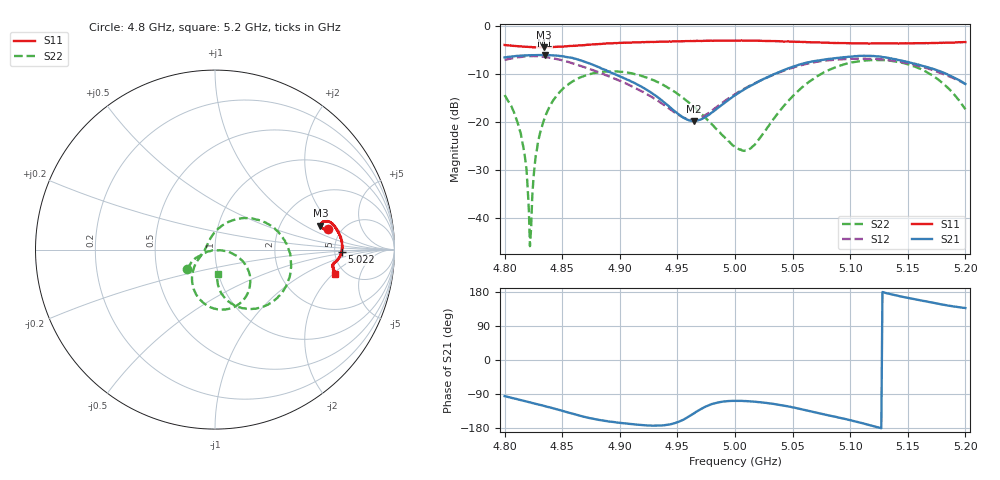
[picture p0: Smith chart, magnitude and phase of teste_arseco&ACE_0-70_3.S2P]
! Network Analyzer HP8722D
! Hewlett-Packard
! Data name: Linha & Wilkinson
! Saver's name: Rodrigo Anjos
! Comments: Teste da utilização de aquisição
! continua pelo VNA HP8722D
! Time and date: 8/5/2025 12:47
!  Frequency  S11  S21  S12  S22
# HZ  S  MA R 50
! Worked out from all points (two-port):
!   401 points, 4.8 GHz to 5.2 GHz, reference 50 ohm
!   highest |S21| = -5.99 dB at 4.835 GHz (marker M1); lowest = -19.8 dB at 4.964 GHz (marker M2)
!   |S21| within 3 dB of the highest: start of sweep to 4.886 GHz; 5.044 GHz to 5.173 GHz (129.2 MHz wide, 2.53 % of centre)
!   lowest |S11| = -4.4 dB at 4.834 GHz (marker M3), VSWR 4.02, Z = 169 + j70.8 ohm
!   |S11| at or under -10 dB: nowhere
!   |S22| runs from -45.9 to -7.0 dB; largest |S21 - S12| = 0.11
!   S11 on the Smith chart (normalised r, x): 4.8 GHz: 3.91, +1.51; 5.022 GHz: 5.76, -0.32; 5.2 GHz: 4.22, -2.12
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4.8e9  0.6382 10.4  0.4732 -95.3  0.4462 -81.5  0.1916 -145.7
4.808e9  0.6228 10.5  0.4865 -101.2  0.4665 -88.6  0.1282 -154.0
4.815e9  0.614 10.9  0.4934 -106.6  0.4794 -95.3  0.06522 -162.2
4.818e9  0.611 11.1  0.497 -108.9  0.4857 -98.4  0.04021 -165.4
4.822e9  0.6081 11.4  0.4978 -111.7  0.4883 -102.4  0.005086 -125.1
4.824e9  0.6043 11.8  0.4994 -113.5  0.4871 -104.6  0.01679 -15.5
4.828e9  0.6054 12.2  0.5006 -116.4  0.4872 -108.2  0.05131 -8.3
4.834e9  0.6018 12.8  0.5009 -121.0  0.4797 -114.3  0.104 -13.3
4.835e9  0.6042 12.9  0.5015 -121.8  0.4814 -115.1  0.1119 -14.3
4.847e9  0.6126 14.0  0.493 -131.6  0.4502 -126.0  0.2007 -28.8
4.867e9  0.6322 14.3  0.4373 -148.4  0.382 -140.5  0.2974 -50.7
4.899e9  0.6718 12.4  0.3045 -165.5  0.273 -155.4  0.3365 -83.0
4.934e9  0.6893 8.9  0.1778 -173.2  0.1645 -160.0  0.257 -116.3
4.964e9  0.7028 6.0  0.1029 -141.5  0.1057 -129.4  0.1458 -141.2
5e9  0.7088 1.8  0.1901 -108.0  0.1962 -102.0  0.0552 178.3
5.01e9  0.7086 0.3  0.2265 -108.5  0.2297 -103.3  0.05076 149.3
5.022e9  0.7051 -1.1  0.2708 -111.5  0.2715 -106.7  0.06908 110.3
5.067e9  0.681 -5.3  0.4298 -136.3  0.4192 -131.7  0.2775 38.0
5.101e9  0.6644 -6.6  0.4844 -159.3  0.458 -155.3  0.4202 -3.2
5.134e9  0.6633 -7.7  0.4658 174.8  0.4431 -178.2  0.4383 -38.7
5.172e9  0.6701 -9.5  0.3596 151.1  0.3485 157.5  0.3031 -74.6
5.2e9  0.6841 -11.3  0.25 137.1  0.2505 145.0  0.1363 -83.7
